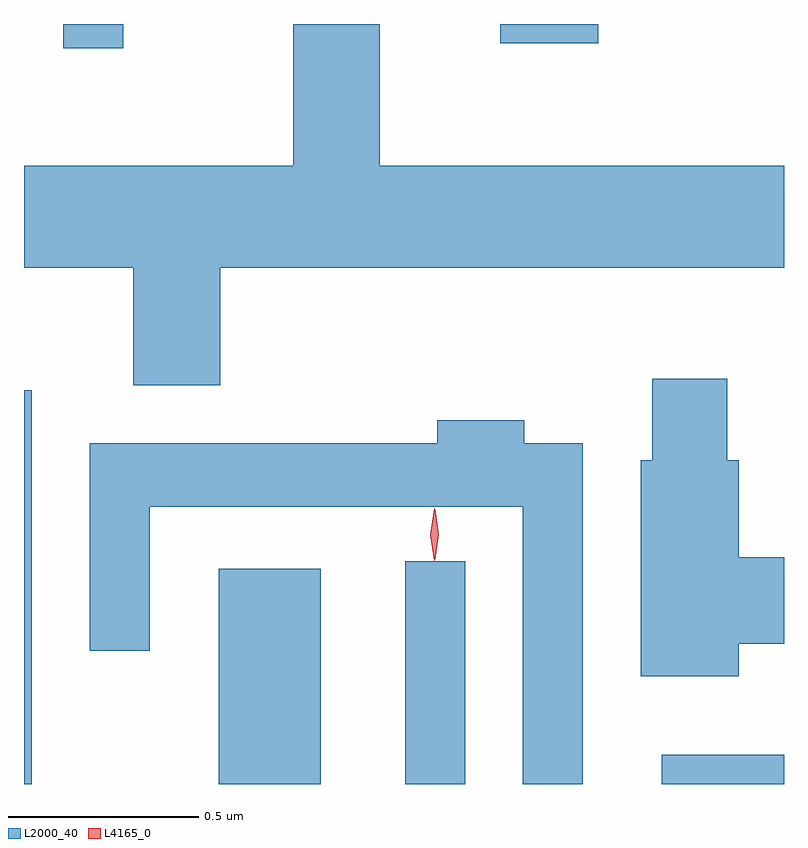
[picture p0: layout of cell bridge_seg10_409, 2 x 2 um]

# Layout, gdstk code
import gdstk
lib = gdstk.Library(unit=1e-6, precision=1e-09)
def R(c, l, rs):  # rectangles x0, y0, x1, y1
    for r in rs: c.add(gdstk.rectangle(r[:2], r[2:], *l))
def P(c, l, *ps):  # polygons
    for p in ps: c.add(gdstk.Polygon(p, *l))
L2000_40 = (2000, 40)
L4165_0 = (4165, 0)

bridge_seg10_409 = lib.new_cell('bridge_seg10_409')
R(bridge_seg10_409, L2000_40, [(1415.403,2105.897,1415.424,2106.933), (1415.916,2105.897,1416.184,2106.464), (1416.406,2105.897,1416.564,2106.483), (1417.081,2105.897,1417.403,2105.974), (1415.506,2107.833,1415.664,2107.897), (1416.656,2107.846,1416.914,2107.897)])
P(bridge_seg10_409, L2000_40, [(1415.919,2107.256),(1417.403,2107.256),(1417.403,2107.524),(1416.339,2107.524),(1416.339,2107.897),(1416.111,2107.897),(1416.111,2107.524),(1415.403,2107.524),(1415.403,2107.256),(1415.691,2107.256),(1415.691,2106.946),(1415.919,2106.946)],
  [(1417.284,2106.266),(1417.403,2106.266),(1417.403,2106.494),(1417.284,2106.494),(1417.284,2106.749),(1417.254,2106.749),(1417.254,2106.964),(1417.056,2106.964),(1417.056,2106.749),(1417.026,2106.749),(1417.026,2106.181),(1417.284,2106.181)],
  [(1416.874,2106.794),(1416.719,2106.794),(1416.719,2106.854),(1416.491,2106.854),(1416.491,2106.794),(1415.576,2106.794),(1415.576,2106.248),(1415.734,2106.248),(1415.734,2106.626),(1416.716,2106.626),(1416.716,2105.897),(1416.874,2105.897)])
P(bridge_seg10_409, L4165_0, [(1416.485,2106.487),(1416.484,2106.488),(1416.475,2106.554),(1416.484,2106.62),(1416.484,2106.62),(1416.485,2106.62),(1416.494,2106.554),(1416.485,2106.488)],
  [(1416.482,2106.483),(1416.482,2106.484),(1416.472,2106.553),(1416.482,2106.622),(1416.482,2106.623),(1416.483,2106.622),(1416.492,2106.553),(1416.483,2106.484)])

lib.write_gds('bridge_seg10_409.gds')
